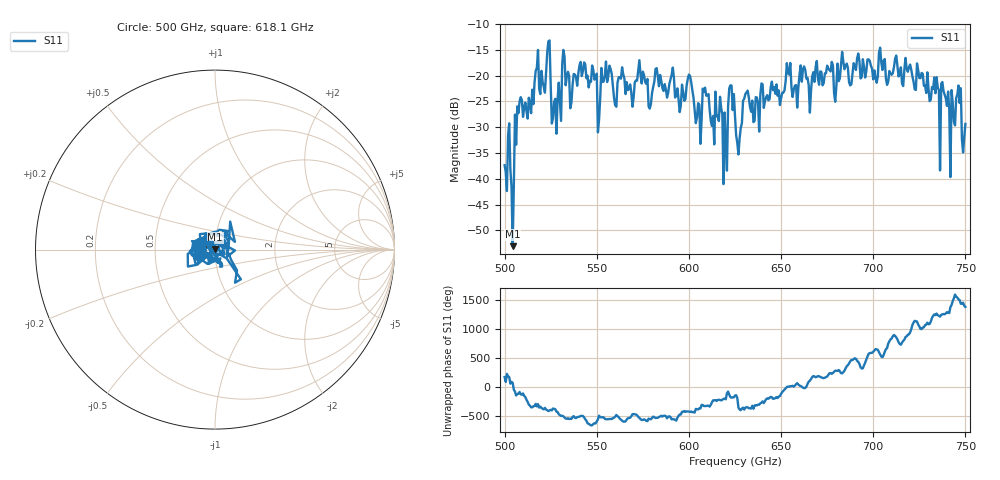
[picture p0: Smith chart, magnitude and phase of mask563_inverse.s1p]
!Created with skrf (http://scikit-rf.org).
# GHz S MA R 50.0
!freq magS11 angS11
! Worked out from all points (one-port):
!   401 points, 500 GHz to 750 GHz, reference 50 ohm
!   lowest |S11| = -53.1 dB at 504.4 GHz (marker M1), VSWR 1.00, Z = 50.1 + j0.21 ohm
!   |S11| at or under -10 dB: start of sweep to end of sweep
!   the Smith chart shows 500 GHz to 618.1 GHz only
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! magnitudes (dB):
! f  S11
! 500 GHz  -37.4
! 504.4 GHz  -53.1
! 508.1 GHz  -25.0
! 523.8 GHz  -13.3
! 526.9 GHz  -25.1
! 531.2 GHz  -17.7
! 548.8 GHz  -20.8
! 550.6 GHz  -31.0
! 553.8 GHz  -21.1
! 562.5 GHz  -20.3
! 593.8 GHz  -22.5
! 600.6 GHz  -20.1
! 605 GHz  -25.3
! 609.4 GHz  -23.9
! 612.5 GHz  -29.7
! 616.9 GHz  -24.1
! 619.4 GHz  -27.2
! 622.5 GHz  -21.9
! 625 GHz  -27.9
! 626.9 GHz  -35.3
! 630.6 GHz  -23.6
! 656.2 GHz  -24.1
! 687.5 GHz  -21.9
! 718.8 GHz  -19.2
! 738.1 GHz  -23.0
! 743.1 GHz  -25.4
! 746.2 GHz  -21.9
! 750 GHz  -29.4
